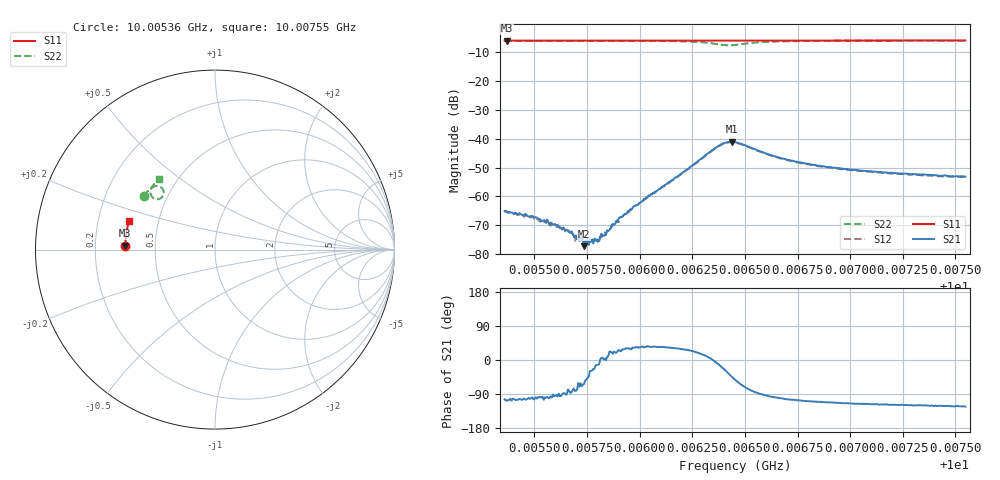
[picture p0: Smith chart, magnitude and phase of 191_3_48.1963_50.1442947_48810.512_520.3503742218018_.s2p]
#  HZ  S  RI  R  50.00
! Rohde & Schwarz Vector Network Analyzer
! Rohde-Schwarz,ZNB20-2Port,1311601062101988,3.16
! Created: UTC 3/20/2024, 11:44:39 AM
! freq[Hz]  re:S11  im:S11  re:S21  im:S21  re:S12  im:S12  re:S22  im:S22
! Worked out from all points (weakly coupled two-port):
!   401 points, 10.00536 GHz to 10.00755 GHz, reference 50 ohm
!   highest |S21| = -41.05 dB at 10.00644 GHz (marker M1); lowest = -77.3 dB at 10.00574 GHz (marker M2)
!   lowest |S11| = -6.0 dB at 10.00537 GHz (marker M3), VSWR 3.00, Z = 16.7 + j0.957 ohm
!   |S11| at or under -10 dB: nowhere
!   |S22| runs from -7.6 to -6.0 dB; largest |S21 - S12| = 0.00054
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1.0005358e10  -0.4998 0.0208  -0.000133 -0.000538  -0.000117 -0.000546  -0.3957 0.2991
1.0005369e10  -0.4998 0.0215  -0.000164 -0.000519  -8.97e-05 -0.000523  -0.3954 0.2998
1.0005495e10  -0.4997 0.0297  -0.000107 -0.000437  -4.99e-05 -0.000442  -0.3901 0.3072
1.0005555e10  -0.4996 0.0338  -5.81e-05 -0.000353  -7.04e-05 -0.000338  -0.3872 0.3109
1.0005665e10  -0.4993 0.0409  3.69e-05 -0.000246  5.5e-05 -0.000234  -0.3819 0.3176
1.0005692e10  -0.4992 0.0425  2.88e-05 -0.000192  3.82e-05 -0.000165  -0.3807 0.3193
1.0005725e10  -0.4991 0.0447  6.73e-05 -0.000176  8.62e-05 -0.000172  -0.3789 0.3214
1.0005736e10  -0.499 0.0455  6.22e-05 -0.000122  9.37e-05 -0.00014  -0.3783 0.322
1.0005747e10  -0.499 0.0461  0.000108 -0.000134  0.000108 -0.000117  -0.3778 0.3227
1.0005802e10  -0.4988 0.0497  0.000175 -3.94e-05  0.000155 -4.92e-05  -0.3747 0.3262
1.0005846e10  -0.4987 0.0526  0.000257 4.01e-05  0.000247 6.27e-05  -0.3722 0.329
1.0005911e10  -0.4981 0.0569  0.000408 0.000173  0.000383 0.000199  -0.368 0.3334
1.0005977e10  -0.4978 0.0611  0.000574 0.000371  0.000556 0.0004  -0.3632 0.3378
1.0006092e10  -0.497 0.0686  0.00111 0.000763  0.00108 0.000777  -0.3524 0.346
1.0006365e10  -0.4942 0.086  0.00711 -0.000869  0.00699 -0.000486  -0.2877 0.33
1.0006398e10  -0.4938 0.0879  0.00766 -0.00321  0.00765 -0.00282  -0.2863 0.3079
1.0006436e10  -0.4936 0.09  0.0064 -0.00613  0.00657 -0.00562  -0.3031 0.2854
1.0006453e10  -0.4934 0.091  0.00537 -0.00688  0.00558 -0.00645  -0.314 0.2811
1.0006644e10  -0.492 0.1032  -0.000748 -0.00488  -0.000503 -0.00481  -0.3595 0.3232
1.000682e10  -0.4901 0.1143  -0.00117 -0.00335  -0.000997 -0.00334  -0.3521 0.3465
1.0007186e10  -0.4849 0.1376  -0.0012 -0.00225  -0.00107 -0.00227  -0.3328 0.373
1.0007547e10  -0.4786 0.1601  -0.0012 -0.00185  -0.00106 -0.00191  -0.314 0.3919
